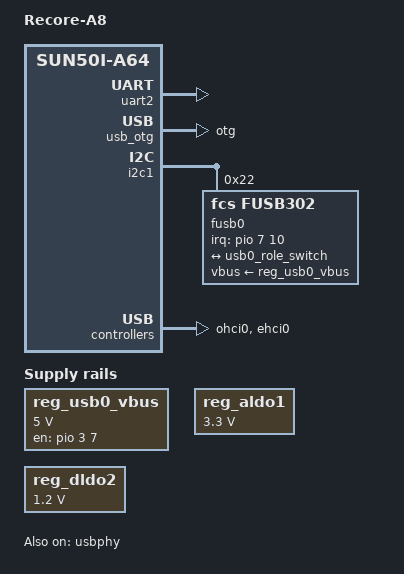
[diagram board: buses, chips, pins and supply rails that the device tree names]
// SPDX-License-Identifier: (GPL-2.0+ OR MIT)

/dts-v1/;

#include "sun50i-a64-recore.dtsi"
#include <dt-bindings/usb/pd.h>

/ {
	model = "Recore-A8";
	compatible = "iagent,recore-a8", "allwinner,sun50i-a64";

	reg_usb0_vbus: usb0-vbus {
		compatible = "regulator-fixed";
		regulator-name = "usb0-vbus0";
		regulator-type = "voltage";
		gpio = <&pio 3 7 GPIO_ACTIVE_HIGH>; // PD7: EN-USB-OTG
		regulator-min-microvolt = <5000000>;
		regulator-max-microvolt = <5000000>;
		regulator-min-microamp = <1500000>;
		regulator-max-microamp = <1500000>;
		enable-active-high;
		status = "okay";
	};
};

&pio {
	reg_usb1_vbus4_pins: reg-usb1-vbus4-pins {
		pins = "PD5";
		function = "reg_usb1_vbus4";
	};
	reg_usb1_vbus3_pins: reg-usb1-vbus3-pins {
		pins = "PD6";
		function = "reg_usb1_vbus3";
	};
	reg_usb0_vbus_pins: reg-usb0-vbus-pins {
		pins = "PD7";
		function = "reg_usb0_vbus";
	};
	fusb0_int_pin: fusb0-int-pin {
		pins = "PH10";
		function = "gpio_in";
	};
};

&reg_usb1_vbus3 {
	gpio = <&pio 3 5 GPIO_ACTIVE_HIGH>;
};

&reg_usb1_vbus4 {
	gpio = <&pio 3 6 GPIO_ACTIVE_HIGH>;
};

&reg_aldo1 {
	regulator-always-on;
	regulator-min-microvolt = <3300000>;
	regulator-max-microvolt = <3300000>;
	regulator-name = "vcc-ext";
};

/* Set over current to: 30 A = 1200 mV */
&reg_dldo2 {
	regulator-min-microvolt = <1200000>;
	regulator-max-microvolt = <1200000>;
};

/* stm32 mcu */
&uart2 {
	pinctrl-names = "default";
	pinctrl-0 = <&uart2_pins>;
	status = "okay";
};

&usb_otg {
	dr_mode = "otg";
	status = "okay";
};

&usb_power_supply {
	regulator-name = "usb-power-supply";
	status = "okay";
};

&usbphy {
	status = "okay";
	usb-role-switch;

	port {
			usb0_role_switch: endpoint {
				remote-endpoint = <&fusb302_ep>;
			};
	};
};

&i2c1 {
	status = "okay";

	fusb0: fusb30x@22 {
		compatible = "fcs,fusb302";
		reg = <0x22>;
		pinctrl-names = "default";
		pinctrl-0 = <&fusb0_int_pin>;
		vbus-supply = <&reg_usb0_vbus>;
		interrupt-parent = <&pio>;
		interrupts = <7 10 IRQ_TYPE_LEVEL_LOW>; // PH10

		usb_con: connector {
			compatible = "usb-c-connector";
			data-role = "dual";
			label = "USB-C";
			power-role = "dual";
			op-sink-microwatt = <5000000>;
			sink-pdos = <PDO_FIXED(5000, 2000, PDO_FIXED_USB_COMM)>;
			source-pdos = <PDO_FIXED(5000, 1500, PDO_FIXED_USB_COMM)>;
			try-power-role = "sink";
			usb-role-switch = <&usbphy>;

			port {
				fusb302_ep: endpoint {
					remote-endpoint = <&usb0_role_switch>;
				};
			};
		};
	};
};

&ohci0 {
	status = "okay";
};

&ehci0 {
	status = "okay";
};
